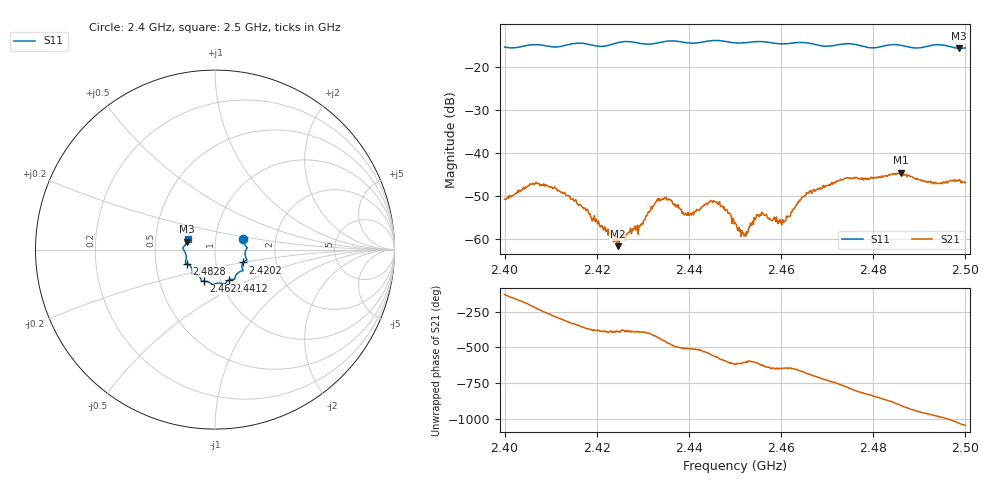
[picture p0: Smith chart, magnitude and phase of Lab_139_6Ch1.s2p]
# Hz S RI R 50
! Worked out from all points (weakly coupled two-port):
!   601 points, 2.4 GHz to 2.5 GHz, reference 50 ohm
!   highest |S21| = -44.62 dB at 2.486 GHz (marker M1); lowest = -61.6 dB at 2.4245 GHz (marker M2)
!   lowest |S11| = -15.8 dB at 2.4987 GHz (marker M3), VSWR 1.39, Z = 36.3 + j3.27 ohm
!   |S11| at or under -10 dB: start of sweep to end of sweep
!   S12 and S22 are empty: the file has one direction only
!   S11 on the Smith chart (normalised r, x): 2.4 GHz: 1.36, +0.17; 2.4202 GHz: 1.35, -0.20; 2.4412 GHz: 1.09, -0.39; 2.462 GHz: 0.83, -0.30; 2.4828 GHz: 0.72, -0.12; 2.5 GHz: 0.73, +0.09
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2.4e9  0.1571 0.0609  -0.00189 -0.0022  0 0  0 0
2.407e9  0.1797 0.0105  -0.00279 0.00346  0 0  0 0
2.416667e9  0.1775 -0.0591  0.00241 0.000136  0 0  0 0
2.420167e9  0.1568 -0.0718  0.00139 -0.000565  0 0  0 0
2.4245e9  0.1537 -0.1105  0.000691 -0.000458  0 0  0 0
2.4295e9  0.1397 -0.1226  0.00123 -0.00082  0 0  0 0
2.433333e9  0.1125 -0.1519  0.000817 -0.0027  0 0  0 0
2.441167e9  0.0755 -0.1716  -0.0019 -0.000883  0 0  0 0
2.445333e9  0.0528 -0.1937  -0.0026 0.000992  0 0  0 0
2.45e9  0.027 -0.1866  -0.000254 0.00154  0 0  0 0
2.452167e9  0.00597 -0.189  -0.000461 0.00104  0 0  0 0
2.455333e9  -0.0122 -0.1951  -0.00036 0.00182  0 0  0 0
2.459667e9  -0.0394 -0.1794  0.000502 0.00149  0 0  0 0
2.462e9  -0.0614 -0.1759  0.000446 0.0018  0 0  0 0
2.466667e9  -0.0772 -0.1674  0.00305 0.0015  0 0  0 0
2.474167e9  -0.1252 -0.1355  0.00269 -0.00438  0 0  0 0
2.482833e9  -0.1579 -0.0779  -0.00469 -0.00271  0 0  0 0
2.483333e9  -0.1608 -0.0765  -0.005 -0.00237  0 0  0 0
2.486e9  -0.1636 -0.0672  -0.00581 0.000854  0 0  0 0
2.493667e9  -0.1795 0.00663  -0.000677 0.00442  0 0  0 0
2.498667e9  -0.1569 0.0438  0.00321 0.00354  0 0  0 0
2.5e9  -0.1532 0.0618  0.00383 0.00238  0 0  0 0
